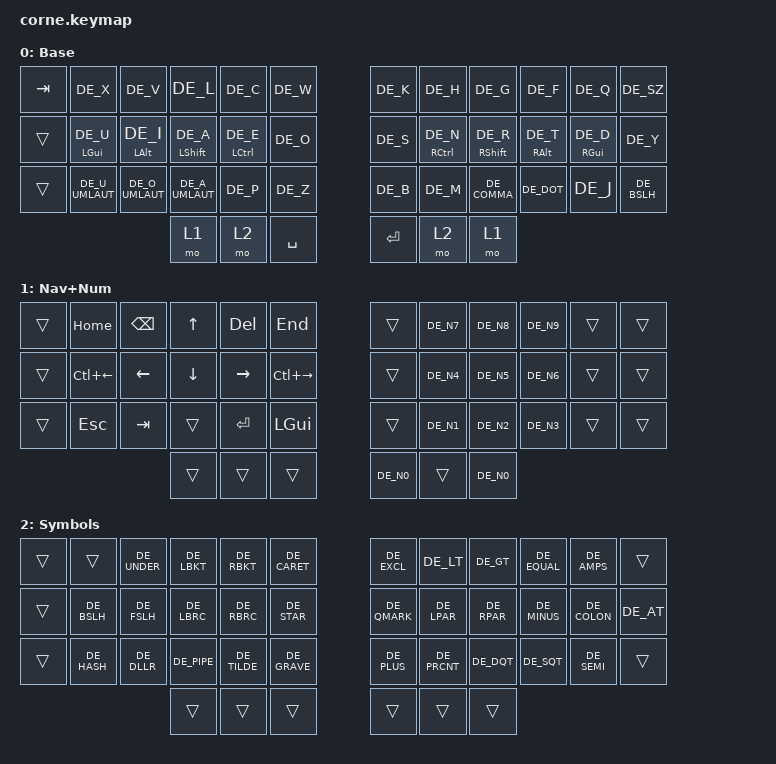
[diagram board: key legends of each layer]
/*
 * Copyright (c) 2020 The ZMK Contributors
 *
 * SPDX-License-Identifier: MIT
 * 
 * Custom Corne keymap based on Neo layout with German locale support
 */

#include <behaviors.dtsi>
#include <dt-bindings/zmk/keys.h>
#include <dt-bindings/zmk/bt.h>
#include "keys_de.h"

/ {
  keymap {
    compatible = "zmk,keymap";

    default_layer {
      display-name = "Base";
      // L1 — per your sketch (NEO-like)
      bindings = <
        /* row 1 */ &kp TAB  &kp DE_X        &kp DE_V        &kp DE_L        &kp DE_C        &kp DE_W                   &kp DE_K &kp DE_H       &kp DE_G       &kp DE_F      &kp DE_Q       &kp DE_SZ
        /* row 2 */ &trans  &mt LGUI DE_U   &mt LALT DE_I   &mt LSHFT DE_A  &mt LCTRL DE_E  &kp DE_O                   &kp DE_S &mt RCTRL DE_N &mt RSHFT DE_R &mt RALT DE_T &mt RGUI DE_D  &kp DE_Y
        /* row 3 */ &trans  &kp DE_U_UMLAUT &kp DE_O_UMLAUT &kp DE_A_UMLAUT &kp DE_P        &kp DE_Z                   &kp DE_B &kp DE_M       &kp DE_COMMA   &kp DE_DOT    &kp DE_J       &kp DE_BSLH
        /* thumbs */                                                        &mo 1           &mo 2    &kp SPACE &kp RET &mo 2    &mo 1
      >;
    };

    lower_layer {
      display-name = "Nav+Num";
      // L2 — left: navigation, right: numpad (0 on right inner thumb)
      bindings = <
        /* row 1 */  &trans   &kp HOME     &kp BSPC    &kp UP       &kp DEL     &kp END                        &trans     &kp DE_N7       &kp DE_N8       &kp DE_N9       &trans       &trans
        /* row 2 */  &trans   &kp LC(LEFT) &kp LEFT     &kp DOWN     &kp RIGHT     &kp LC(RIGHT)                  &trans     &kp DE_N4       &kp DE_N5       &kp DE_N6       &trans       &trans
        /* row 3 */  &trans   &kp ESC      &kp TAB      &trans       &kp RET       &kp LGUI                       &trans     &kp DE_N1       &kp DE_N2       &kp DE_N3       &trans       &trans
        /* thumbs */                                                 &trans        &trans        &trans &kp DE_N0    &trans     &kp DE_N0
      >;
    };

    raise_layer {
      display-name = "Symbols";
      // L3 — symbol blocks per sketch
      bindings = <
        /* row 1 */  &trans &trans       &kp DE_UNDER  &kp DE_LBKT   &kp DE_RBKT      &kp DE_CARET                  &kp DE_EXCL   &kp DE_LT       &kp DE_GT       &kp DE_EQUAL    &kp DE_AMPS     &trans
        /* row 2 */  &trans &kp DE_BSLH   &kp DE_FSLH  &kp DE_LBRC   &kp DE_RBRC      &kp DE_STAR                   &kp DE_QMARK  &kp DE_LPAR     &kp DE_RPAR     &kp DE_MINUS    &kp DE_COLON    &kp DE_AT
        /* row 3 */  &trans &kp DE_HASH   &kp DE_DLLR  &kp DE_PIPE   &kp DE_TILDE     &kp DE_GRAVE                  &kp DE_PLUS   &kp DE_PRCNT    &kp DE_DQT      &kp DE_SQT      &kp DE_SEMI         &trans
        /* thumbs */                                                 &trans           &trans       &trans  &trans   &trans        &trans
      >;
    };

    extra_1 { status = "reserved"; };
    extra_2 { status = "reserved"; };
    extra_3 { status = "reserved"; };
  };
};
